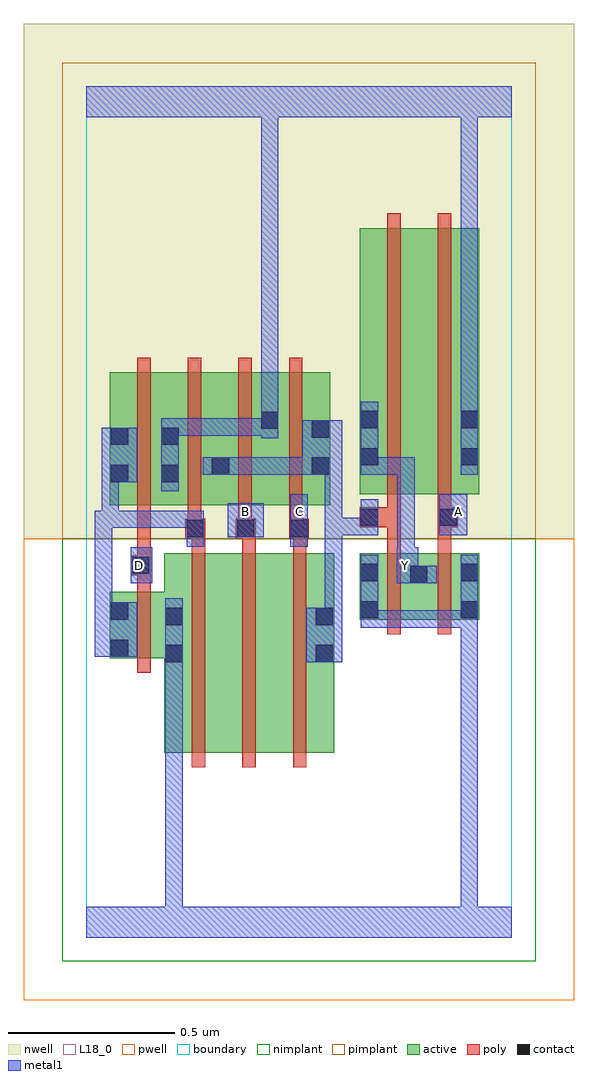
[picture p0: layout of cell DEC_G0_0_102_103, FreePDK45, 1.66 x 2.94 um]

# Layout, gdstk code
import gdstk
lib = gdstk.Library(unit=1e-6, precision=1e-09)
def R(c, l, rs):  # rectangles x0, y0, x1, y1
    for r in rs: c.add(gdstk.rectangle(r[:2], r[2:], *l))
def A(c, l, x, y, w, h, nx, ny, dx, dy):  # array of equal rectangles
    R(c, l, [(x+i*dx, y+j*dy, x+i*dx+w, y+j*dy+h) for i in range(nx) for j in range(ny)])
active = (1, 0)
pwell = (2, 0)
nwell = (3, 0)
nimplant = (4, 0)
pimplant = (5, 0)
poly = (9, 0)
contact = (10, 0)
metal1 = (11, 0)
L18_0 = (18, 0)
boundary = (235, 0)

dec_g0_0_102_103 = lib.new_cell('DEC_G0_0_102_103')
R(dec_g0_0_102_103, active, [(0.234,0.556,0.414,1.156), (0.414,0.556,0.566,1.156), (0.566,0.556,0.746,1.156), (0.686,0.556,0.746,1.156), (0.234,0.684,0.294,1.04), (0.07,0.84,0.13,1.04), (0.07,0.84,0.294,1.04), (0.822,0.956,0.882,1.156), (0.822,0.956,1.03,1.156), (0.97,0.956,1.03,1.156), (0.97,0.956,1.182,1.156), (1.122,0.956,1.182,1.156), (0.07,1.3,0.13,1.7), (0.07,1.3,0.282,1.7), (0.222,1.3,0.434,1.7), (0.374,1.3,0.582,1.7), (0.522,1.3,0.734,1.7), (0.674,1.3,0.734,1.7), (0.822,1.334,0.882,2.044), (0.822,1.334,1.002,2.134), (1.002,1.334,1.182,2.134), (1.122,1.334,1.182,2.044), (0.222,1.366,0.282,1.7), (0.374,1.388,0.434,1.644), (0.522,1.416,0.582,1.7)])
R(dec_g0_0_102_103, pwell, [(-0.188,-0.188,1.468,1.2)])
R(dec_g0_0_102_103, nwell, [(-0.188,1.2,1.468,2.748)])
R(dec_g0_0_102_103, nimplant, [(-0.072,-0.072,1.352,1.2)])
R(dec_g0_0_102_103, pimplant, [(-0.072,1.2,1.352,2.632)])
A(dec_g0_0_102_103, poly, 0.318, 0.512, 0.04, 0.688, 3, 1, 0.152, 0)
A(dec_g0_0_102_103, poly, 0.318, 1.16, 0.04, 0.08, 3, 1, 0.152, 0)
A(dec_g0_0_102_103, poly, 0.306, 1.22, 0.04, 0.076, 3, 1, 0.152, 0)
A(dec_g0_0_102_103, poly, 0.154, 1.256, 0.04, 0.488, 4, 1, 0.152, 0)
R(dec_g0_0_102_103, poly, [(0.154,0.796,0.194,1.084), (0.906,0.912,0.946,1.2), (1.058,0.912,1.098,1.2), (0.154,1.044,0.194,1.13), (0.134,1.09,0.194,1.15), (0.154,1.11,0.194,1.15), (0.154,1.11,0.194,1.15), (0.154,1.11,0.194,1.296), (0.906,1.16,0.946,1.274), (1.058,1.16,1.098,1.274), (0.298,1.2,0.358,1.26), (0.318,1.2,0.358,1.24), (0.318,1.2,0.358,1.24), (0.45,1.2,0.51,1.26), (0.47,1.2,0.51,1.24), (0.47,1.2,0.51,1.24), (0.61,1.2,0.67,1.26), (0.622,1.2,0.662,1.24), (0.622,1.2,0.662,1.24), (0.822,1.234,0.946,1.294), (0.906,1.234,0.946,1.274), (0.906,1.234,0.946,1.274), (1.058,1.234,1.098,1.274), (1.058,1.234,1.098,1.274), (1.058,1.234,1.118,1.294), (0.906,1.254,0.946,1.33), (1.058,1.254,1.098,1.33), (0.906,1.29,0.946,2.178), (1.058,1.29,1.098,2.178)])
R(dec_g0_0_102_103, contact, [(0.238,0.828,0.29,0.88), (0.69,0.828,0.742,0.88), (0.074,0.844,0.126,0.896), (0.238,0.94,0.29,0.992), (0.69,0.94,0.742,0.992), (0.074,0.956,0.126,1.008), (0.826,0.96,0.878,1.012), (1.126,0.96,1.178,1.012), (0.974,1.066,1.026,1.118), (0.826,1.072,0.878,1.124), (1.126,1.072,1.178,1.124), (0.138,1.094,0.19,1.146), (0.302,1.204,0.354,1.256), (0.454,1.204,0.506,1.256), (0.614,1.204,0.666,1.256), (0.826,1.238,0.878,1.29), (1.062,1.238,1.114,1.29), (0.074,1.37,0.126,1.422), (0.226,1.37,0.278,1.422), (0.378,1.392,0.43,1.444), (0.678,1.392,0.73,1.444), (0.826,1.42,0.878,1.472), (1.126,1.42,1.178,1.472), (0.074,1.482,0.126,1.534), (0.226,1.482,0.278,1.534), (0.678,1.504,0.73,1.556), (0.526,1.53,0.578,1.582), (0.826,1.532,0.878,1.584), (1.126,1.532,1.178,1.584)])
R(dec_g0_0_102_103, metal1, [(0,0,1.28,0.092), (0.238,0.04,0.29,0.092), (0.238,0.04,0.29,0.092), (0.238,0.04,0.29,0.092), (0.238,0.04,0.29,0.092), (0.238,0.04,0.29,0.092), (0.238,0.04,0.29,0.092), (0.238,0.04,0.29,0.092), (0.238,0.04,0.29,0.092), (0.238,0.04,0.29,0.852), (1.126,0.04,1.178,0.092), (1.126,0.04,1.178,0.092), (1.126,0.04,1.178,0.092), (1.126,0.04,1.178,0.092), (1.126,0.04,1.178,0.092), (1.126,0.04,1.178,0.092), (1.126,0.04,1.178,0.984), (0.238,0.8,0.29,1.02), (0.662,0.828,0.77,0.992), (0.026,0.844,0.154,1.008), (0.826,0.932,0.878,1.152), (0.826,0.932,1.004,0.984), (0.952,0.932,1.004,0.984), (0.952,0.932,1.004,0.984), (0.952,0.932,1.004,0.984), (0.952,0.932,1.178,0.984), (1.126,0.932,1.178,0.984), (1.126,0.932,1.178,0.984), (1.126,0.932,1.178,0.984), (1.126,0.932,1.178,0.984), (1.126,0.932,1.178,0.984), (1.126,0.932,1.178,0.984), (1.126,0.932,1.178,0.984), (1.126,0.932,1.178,0.984), (1.126,0.932,1.178,0.984), (1.126,0.932,1.178,0.984), (1.126,0.932,1.178,0.984), (1.126,0.932,1.178,0.984), (1.126,0.932,1.178,1.152), (0.718,0.94,0.77,1.094), (0.026,0.956,0.078,1.008), (0.026,0.956,0.078,1.008), (0.026,0.956,0.078,1.284), (0.718,1.042,0.77,1.094), (0.718,1.042,0.77,1.262), (0.134,1.066,0.198,1.174), (0.934,1.066,0.998,1.174), (0.946,1.066,0.998,1.118), (0.946,1.066,1.054,1.118), (0.936,1.122,0.988,1.174), (0.936,1.122,0.988,1.174), (0.936,1.122,0.988,1.444), (0.302,1.176,0.354,1.284), (0.614,1.176,0.666,1.334), (0.426,1.204,0.534,1.306), (0.718,1.21,0.77,1.262), (0.718,1.21,0.776,1.262), (0.718,1.21,0.77,1.444), (0.724,1.21,0.776,1.262), (0.724,1.21,0.878,1.262), (0.826,1.21,0.878,1.318), (1.062,1.21,1.146,1.334), (0.026,1.232,0.098,1.284), (0.046,1.232,0.098,1.284), (0.046,1.232,0.098,1.284), (0.046,1.232,0.208,1.284), (0.046,1.232,0.098,1.422), (0.156,1.232,0.208,1.284), (0.156,1.232,0.354,1.284), (0.226,1.342,0.278,1.562), (0.046,1.37,0.154,1.534), (0.35,1.392,0.458,1.444), (0.406,1.392,0.458,1.444), (0.406,1.392,0.458,1.444), (0.406,1.392,0.592,1.444), (0.54,1.392,0.592,1.444), (0.54,1.392,0.592,1.444), (0.54,1.392,0.592,1.444), (0.54,1.392,0.702,1.444), (0.65,1.392,0.77,1.556), (0.826,1.392,0.878,1.612), (0.826,1.392,0.988,1.444), (0.936,1.392,0.988,1.444), (0.936,1.392,0.988,1.444), (0.936,1.392,0.988,1.444), (1.126,1.392,1.178,1.612), (0.526,1.502,0.578,1.61), (0.226,1.51,0.278,1.562), (0.226,1.51,0.278,1.562), (0.226,1.51,0.4,1.562), (0.348,1.51,0.4,1.562), (0.348,1.51,0.4,1.562), (0.348,1.51,0.4,1.562), (0.348,1.51,0.578,1.562), (0.526,1.558,0.578,2.52), (1.126,1.56,1.178,2.52), (0,2.468,1.28,2.56), (0.526,2.468,0.578,2.52), (0.526,2.468,0.578,2.52), (0.526,2.468,0.578,2.52), (0.526,2.468,0.578,2.52), (0.526,2.468,0.578,2.52), (0.526,2.468,0.578,2.52), (0.526,2.468,0.578,2.52), (0.526,2.468,0.578,2.52), (0.526,2.468,0.578,2.52), (0.526,2.468,0.578,2.52), (0.526,2.468,0.578,2.52), (0.526,2.468,0.578,2.52), (0.526,2.468,0.578,2.52), (0.526,2.468,0.578,2.52), (0.526,2.468,0.578,2.52), (0.526,2.468,0.578,2.52), (1.126,2.468,1.178,2.52), (1.126,2.468,1.178,2.52), (1.126,2.468,1.178,2.52), (1.126,2.468,1.178,2.52), (1.126,2.468,1.178,2.52), (1.126,2.468,1.178,2.52), (1.126,2.468,1.178,2.52), (1.126,2.468,1.178,2.52)])
R(dec_g0_0_102_103, L18_0, [(0,0,1.28,0.092), (0.238,0.04,0.29,0.092), (0.238,0.04,0.29,0.092), (0.238,0.04,0.29,0.092), (0.238,0.04,0.29,0.092), (0.238,0.04,0.29,0.092), (0.238,0.04,0.29,0.092), (0.238,0.04,0.29,0.092), (0.238,0.04,0.29,0.092), (0.238,0.04,0.29,0.852), (1.126,0.04,1.178,0.092), (1.126,0.04,1.178,0.092), (1.126,0.04,1.178,0.092), (1.126,0.04,1.178,0.092), (1.126,0.04,1.178,0.092), (1.126,0.04,1.178,0.092), (1.126,0.04,1.178,0.984), (0.238,0.8,0.29,1.02), (0.826,0.932,0.878,1.152), (0.826,0.932,1.004,0.984), (0.952,0.932,1.004,0.984), (0.952,0.932,1.004,0.984), (0.952,0.932,1.004,0.984), (0.952,0.932,1.178,0.984), (1.126,0.932,1.178,0.984), (1.126,0.932,1.178,0.984), (1.126,0.932,1.178,0.984), (1.126,0.932,1.178,0.984), (1.126,0.932,1.178,0.984), (1.126,0.932,1.178,0.984), (1.126,0.932,1.178,0.984), (1.126,0.932,1.178,0.984), (1.126,0.932,1.178,0.984), (1.126,0.932,1.178,0.984), (1.126,0.932,1.178,0.984), (1.126,0.932,1.178,0.984), (1.126,0.932,1.178,1.152), (0.134,1.066,0.198,1.174), (0.934,1.066,0.998,1.174), (0.946,1.066,0.998,1.118), (0.946,1.066,1.054,1.118), (0.134,1.094,0.186,1.146), (0.934,1.094,0.986,1.146), (0.936,1.122,0.988,1.174), (0.936,1.122,0.988,1.174), (0.936,1.122,0.988,1.444), (0.614,1.176,0.666,1.334), (0.426,1.204,0.534,1.306), (1.062,1.21,1.146,1.334), (0.454,1.254,0.506,1.306), (0.614,1.254,0.666,1.306), (1.094,1.254,1.146,1.306), (0.226,1.342,0.278,1.562), (0.826,1.392,0.878,1.612), (0.826,1.392,0.988,1.444), (0.936,1.392,0.988,1.444), (0.936,1.392,0.988,1.444), (0.936,1.392,0.988,1.444), (1.126,1.392,1.178,1.612), (0.526,1.502,0.578,1.61), (0.226,1.51,0.278,1.562), (0.226,1.51,0.278,1.562), (0.226,1.51,0.4,1.562), (0.348,1.51,0.4,1.562), (0.348,1.51,0.4,1.562), (0.348,1.51,0.4,1.562), (0.348,1.51,0.578,1.562), (0.526,1.558,0.578,2.52), (1.126,1.56,1.178,2.52), (0,2.468,1.28,2.56), (0.526,2.468,0.578,2.52), (0.526,2.468,0.578,2.52), (0.526,2.468,0.578,2.52), (0.526,2.468,0.578,2.52), (0.526,2.468,0.578,2.52), (0.526,2.468,0.578,2.52), (0.526,2.468,0.578,2.52), (0.526,2.468,0.578,2.52), (0.526,2.468,0.578,2.52), (0.526,2.468,0.578,2.52), (0.526,2.468,0.578,2.52), (0.526,2.468,0.578,2.52), (0.526,2.468,0.578,2.52), (0.526,2.468,0.578,2.52), (0.526,2.468,0.578,2.52), (0.526,2.468,0.578,2.52), (1.126,2.468,1.178,2.52), (1.126,2.468,1.178,2.52), (1.126,2.468,1.178,2.52), (1.126,2.468,1.178,2.52), (1.126,2.468,1.178,2.52), (1.126,2.468,1.178,2.52), (1.126,2.468,1.178,2.52), (1.126,2.468,1.178,2.52)])
R(dec_g0_0_102_103, boundary, [(0,0,1.28,2.56)])
dec_g0_0_102_103.add(gdstk.Label('A', (1.12,1.28), layer=11, texttype=0))
dec_g0_0_102_103.add(gdstk.Label('B', (0.48,1.28), layer=11, texttype=0))
dec_g0_0_102_103.add(gdstk.Label('C', (0.64,1.28), layer=11, texttype=0))
dec_g0_0_102_103.add(gdstk.Label('D', (0.16,1.12), layer=11, texttype=0))
dec_g0_0_102_103.add(gdstk.Label('Y', (0.96,1.12), layer=11, texttype=0))

lib.write_gds('DEC_G0_0_102_103.gds')
